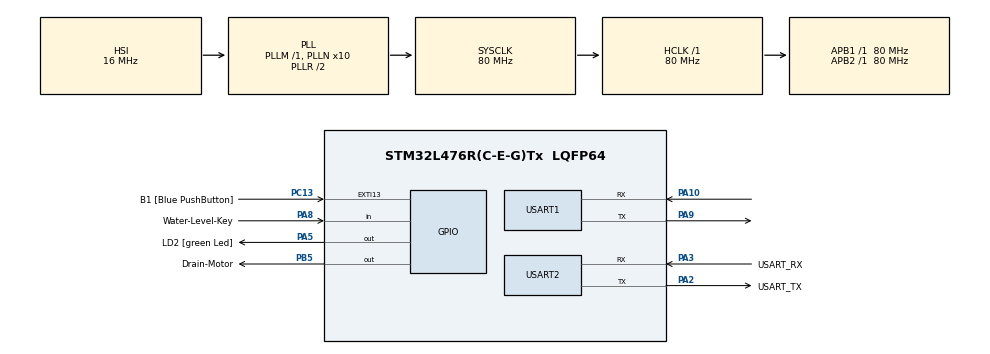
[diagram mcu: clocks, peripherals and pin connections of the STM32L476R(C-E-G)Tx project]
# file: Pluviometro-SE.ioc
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FREERTOS.Tasks01=defaultTask,0,128,StartDefaultTask,Default,NULL,Dynamic,NULL,NULL
FREERTOS.configUSE_NEWLIB_REENTRANT=1
Mcu.Family=STM32L4
Mcu.Name=STM32L476R(C-E-G)Tx
Mcu.Package=LQFP64
NVIC.PriorityGroup=NVIC_PRIORITYGROUP_4
NVIC.TIM1_UP_TIM16_IRQn=true\:15\:0\:false\:false\:true\:false\:false\:true\:true
NVIC.TimeBase=TIM1_UP_TIM16_IRQn
NVIC.TimeBaseIP=TIM1
PA10.Mode=Asynchronous
PA10.Signal=USART1_RX
PA13\ (JTMS-SWDIO).GPIO_Label=TMS
PA13\ (JTMS-SWDIO).Mode=Serial_Wire
PA13\ (JTMS-SWDIO).Signal=SYS_JTMS-SWDIO
PA14\ (JTCK-SWCLK).GPIO_Label=TCK
PA14\ (JTCK-SWCLK).Mode=Serial_Wire
PA14\ (JTCK-SWCLK).Signal=SYS_JTCK-SWCLK
PA2.GPIO_Label=USART_TX
PA2.GPIO_Mode=GPIO_MODE_AF_PP
PA2.GPIO_PuPd=GPIO_NOPULL
PA2.GPIO_Speed=GPIO_SPEED_FREQ_VERY_HIGH
PA2.Mode=Asynchronous
PA2.Signal=USART2_TX
PA3.GPIO_Label=USART_RX
PA3.GPIO_Mode=GPIO_MODE_AF_PP
PA3.GPIO_PuPd=GPIO_NOPULL
PA3.GPIO_Speed=GPIO_SPEED_FREQ_VERY_HIGH
PA3.Mode=Asynchronous
PA3.Signal=USART2_RX
PA5.GPIO_Label=LD2 [green Led]
PA5.GPIO_ModeDefaultOutputPP=GPIO_MODE_OUTPUT_PP
PA5.GPIO_PuPd=GPIO_NOPULL
PA5.GPIO_Speed=GPIO_SPEED_FREQ_LOW
PA5.Signal=GPIO_Output
PA8.GPIO_Label=Water-Level-Key
PA8.GPIO_PuPd=GPIO_NOPULL
PA8.Signal=GPIO_Input
PA9.Mode=Asynchronous
PA9.Signal=USART1_TX
PB3\ (JTDO-TRACESWO).GPIO_Label=SWO
PB3\ (JTDO-TRACESWO).Signal=SYS_JTDO-SWO
PB5.GPIO_Label=Drain-Motor
PB5.Signal=GPIO_Output
PC13.GPIO_Label=B1 [Blue PushButton]
PC13.GPIO_ModeDefaultEXTI=GPIO_MODE_IT_FALLING
PC13.GPIO_PuPd=GPIO_NOPULL
PC13.Signal=GPXTI13
PC14-OSC32_IN\ (PC14).Mode=LSE-External-Oscillator
PC14-OSC32_IN\ (PC14).Signal=RCC_OSC32_IN
PC15-OSC32_OUT\ (PC15).Mode=LSE-External-Oscillator
PC15-OSC32_OUT\ (PC15).Signal=RCC_OSC32_OUT
PH0-OSC_IN\ (PH0).Signal=RCC_OSC_IN
PH1-OSC_OUT\ (PH1).Signal=RCC_OSC_OUT
ProjectManager.HeapSize=0x200
ProjectManager.StackSize=0x400
ProjectManager.TargetToolchain=STM32CubeIDE
RCC.ADCFreq_Value=64000000
RCC.AHBFreq_Value=80000000
RCC.APB1Freq_Value=80000000
RCC.APB1TimFreq_Value=80000000
RCC.APB2Freq_Value=80000000
RCC.APB2TimFreq_Value=80000000
RCC.CortexFreq_Value=80000000
RCC.HCLKFreq_Value=80000000
RCC.HSE_VALUE=8000000
RCC.HSI_VALUE=16000000
RCC.MSI_VALUE=4000000
RCC.PLLN=10
RCC.PLLSourceVirtual=RCC_PLLSOURCE_HSI
RCC.PREFETCH_ENABLE=1
RCC.SYSCLKFreq_VALUE=80000000
RCC.SYSCLKSource=RCC_SYSCLKSOURCE_PLLCLK
RCC.USBFreq_Value=64000000
RCC.VCOOutputFreq_Value=160000000
USART1.VirtualMode-Asynchronous=VM_ASYNC
USART2.VirtualMode-Asynchronous=VM_ASYNC
VP_FREERTOS_VS_CMSIS_V1.Mode=CMSIS_V1
VP_SYS_VS_tim1.Mode=TIM1
board=NUCLEO-L476RG

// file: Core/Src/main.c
/* USER CODE BEGIN Header */
/**
  ******************************************************************************
  * @file           : main.c
  * @brief          : Main program body
  ******************************************************************************
  * @attention
  *
  * Copyright (c) 2022 STMicroelectronics.
  * All rights reserved.
  *
  * This software is licensed under terms that can be found in the LICENSE file
  * in the root directory of this software component.
  * If no LICENSE file comes with this software, it is provided AS-IS.
  *
  ******************************************************************************
  */
/* USER CODE END Header */
#include "main.h"
#include "cmsis_os.h"

UART_HandleTypeDef huart1;
UART_HandleTypeDef huart2;

osThreadId defaultTaskHandle;
/* USER CODE BEGIN PV */
QueueHandle_t tx_queue_1;
QueueHandle_t rx_queue_1;
QueueHandle_t tx_queue_2;
QueueHandle_t rx_queue_2;
/* USER CODE END PV */

void SystemClock_Config(void);
static void MX_GPIO_Init(void);
static void MX_USART2_UART_Init(void);
static void MX_USART1_UART_Init(void);
void StartDefaultTask(void const * argument);

/* USER CODE BEGIN 0 */

void sendChar(unsigned char c, int uart_number){
	unsigned char pChar = c;
	if(uart_number == 1)
		HAL_UART_Transmit(&huart1, &pChar,1 ,HAL_MAX_DELAY );
	else if(uart_number == 2)
		HAL_UART_Transmit(&huart2, &pChar, 1,HAL_MAX_DELAY );
}

void sendString(char * str, int uart_number){
	if(uart_number == 1)
		HAL_UART_Transmit(&huart1, (uint8_t *)str, strlen(str) ,HAL_MAX_DELAY );
	else if(uart_number == 2)
		HAL_UART_Transmit(&huart2, (uint8_t *)str, strlen(str) ,HAL_MAX_DELAY );
}

char readChar(int uart_number){
	unsigned char caracter;

	if(uart_number == 1){
		while(HAL_UART_Receive(&huart1, &caracter, 1, HAL_MAX_DELAY) != HAL_OK);
	}
	else if(uart_number == 2){
		while(HAL_UART_Receive(&huart2, &caracter, 1, HAL_MAX_DELAY) != HAL_OK);
	}
	return caracter;
}

/* USER CODE END 0 */

int main(void)
{

  /* MCU Configuration--------------------------------------------------------*/

  /* Reset of all peripherals, Initializes the Flash interface and the Systick. */
  HAL_Init();

  /* Configure the system clock */
  SystemClock_Config();

  /* Initialize all configured peripherals */
  MX_GPIO_Init();
  MX_USART2_UART_Init();
  MX_USART1_UART_Init();

  /* Create the thread(s) */
  /* definition and creation of defaultTask */
  osThreadDef(defaultTask, StartDefaultTask, osPriorityNormal, 0, 128);
  defaultTaskHandle = osThreadCreate(osThread(defaultTask), NULL);

  /* USER CODE BEGIN RTOS_THREADS */
  xTaskCreate(alertWaterLevel,          /* Nome da funcao que executa a task */

                   "detect critical water level",        /* Nome descritivo */

                  configMINIMAL_STACK_SIZE,   /* tamanho da pilha da task */

                  NULL,               /* parametro para a task */

                  tskIDLE_PRIORITY,           /* nivel de prioridade */

                  NULL);              /* ponteiro para o handle da task */

  xTaskCreate(alertDrain,          /* Nome da funcao que executa a task */

                   "drain the rain gauge",        /* Nome descritivo */

                  configMINIMAL_STACK_SIZE,   /* tamanho da pilha da task */

                  NULL,               /* parametro para a task */

                  tskIDLE_PRIORITY,           /* nivel de prioridade */

                  NULL);              /* ponteiro para o handle da task */

  /* USER CODE END RTOS_THREADS */

  /* Start scheduler */
  osKernelStart();

  /* We should never get here as control is now taken by the scheduler */
  /* Infinite loop */
  while (1)
  {

  }
}

void SystemClock_Config(void)
{
  RCC_OscInitTypeDef RCC_OscInitStruct = {0};
  RCC_ClkInitTypeDef RCC_ClkInitStruct = {0};

  /** Configure the main internal regulator output voltage
  */
  if (HAL_PWREx_ControlVoltageScaling(PWR_REGULATOR_VOLTAGE_SCALE1) != HAL_OK)
  {
    Error_Handler();
  }

  /** Initializes the RCC Oscillators according to the specified parameters
  * in the RCC_OscInitTypeDef structure.
  */
  RCC_OscInitStruct.OscillatorType = RCC_OSCILLATORTYPE_HSI;
  RCC_OscInitStruct.HSIState = RCC_HSI_ON;
  RCC_OscInitStruct.HSICalibrationValue = RCC_HSICALIBRATION_DEFAULT;
  RCC_OscInitStruct.PLL.PLLState = RCC_PLL_ON;
  RCC_OscInitStruct.PLL.PLLSource = RCC_PLLSOURCE_HSI;
  RCC_OscInitStruct.PLL.PLLM = 1;
  RCC_OscInitStruct.PLL.PLLN = 10;
  RCC_OscInitStruct.PLL.PLLP = RCC_PLLP_DIV7;
  RCC_OscInitStruct.PLL.PLLQ = RCC_PLLQ_DIV2;
  RCC_OscInitStruct.PLL.PLLR = RCC_PLLR_DIV2;
  if (HAL_RCC_OscConfig(&RCC_OscInitStruct) != HAL_OK)
  {
    Error_Handler();
  }

  /** Initializes the CPU, AHB and APB buses clocks
  */
  RCC_ClkInitStruct.ClockType = RCC_CLOCKTYPE_HCLK|RCC_CLOCKTYPE_SYSCLK
                              |RCC_CLOCKTYPE_PCLK1|RCC_CLOCKTYPE_PCLK2;
  RCC_ClkInitStruct.SYSCLKSource = RCC_SYSCLKSOURCE_PLLCLK;
  RCC_ClkInitStruct.AHBCLKDivider = RCC_SYSCLK_DIV1;
  RCC_ClkInitStruct.APB1CLKDivider = RCC_HCLK_DIV1;
  RCC_ClkInitStruct.APB2CLKDivider = RCC_HCLK_DIV1;

  if (HAL_RCC_ClockConfig(&RCC_ClkInitStruct, FLASH_LATENCY_4) != HAL_OK)
  {
    Error_Handler();
  }
}

static void MX_USART1_UART_Init(void)
{

  huart1.Instance = USART1;
  huart1.Init.BaudRate = 115200;
  huart1.Init.WordLength = UART_WORDLENGTH_8B;
  huart1.Init.StopBits = UART_STOPBITS_1;
  huart1.Init.Parity = UART_PARITY_NONE;
  huart1.Init.Mode = UART_MODE_TX_RX;
  huart1.Init.HwFlowCtl = UART_HWCONTROL_NONE;
  huart1.Init.OverSampling = UART_OVERSAMPLING_16;
  huart1.Init.OneBitSampling = UART_ONE_BIT_SAMPLE_DISABLE;
  huart1.AdvancedInit.AdvFeatureInit = UART_ADVFEATURE_NO_INIT;
  if (HAL_UART_Init(&huart1) != HAL_OK)
  {
    Error_Handler();
  }

}

static void MX_USART2_UART_Init(void)
{

  huart2.Instance = USART2;
  huart2.Init.BaudRate = 115200;
  huart2.Init.WordLength = UART_WORDLENGTH_8B;
  huart2.Init.StopBits = UART_STOPBITS_1;
  huart2.Init.Parity = UART_PARITY_NONE;
  huart2.Init.Mode = UART_MODE_TX_RX;
  huart2.Init.HwFlowCtl = UART_HWCONTROL_NONE;
  huart2.Init.OverSampling = UART_OVERSAMPLING_16;
  huart2.Init.OneBitSampling = UART_ONE_BIT_SAMPLE_DISABLE;
  huart2.AdvancedInit.AdvFeatureInit = UART_ADVFEATURE_NO_INIT;
  if (HAL_UART_Init(&huart2) != HAL_OK)
  {
    Error_Handler();
  }

}

static void MX_GPIO_Init(void)
{
  GPIO_InitTypeDef GPIO_InitStruct = {0};

  /* GPIO Ports Clock Enable */
  __HAL_RCC_GPIOC_CLK_ENABLE();
  __HAL_RCC_GPIOH_CLK_ENABLE();
  __HAL_RCC_GPIOA_CLK_ENABLE();
  __HAL_RCC_GPIOB_CLK_ENABLE();

  /*Configure GPIO pin Output Level */
  HAL_GPIO_WritePin(LD2_GPIO_Port, LD2_Pin, GPIO_PIN_RESET);

  /*Configure GPIO pin Output Level */
  HAL_GPIO_WritePin(Drain_Motor_GPIO_Port, Drain_Motor_Pin, GPIO_PIN_RESET);

  /*Configure GPIO pin : B1_Pin */
  GPIO_InitStruct.Pin = B1_Pin;
  GPIO_InitStruct.Mode = GPIO_MODE_IT_FALLING;
  GPIO_InitStruct.Pull = GPIO_NOPULL;
  HAL_GPIO_Init(B1_GPIO_Port, &GPIO_InitStruct);

  /*Configure GPIO pin : LD2_Pin */
  GPIO_InitStruct.Pin = LD2_Pin;
  GPIO_InitStruct.Mode = GPIO_MODE_OUTPUT_PP;
  GPIO_InitStruct.Pull = GPIO_NOPULL;
  GPIO_InitStruct.Speed = GPIO_SPEED_FREQ_LOW;
  HAL_GPIO_Init(LD2_GPIO_Port, &GPIO_InitStruct);

  /*Configure GPIO pin : Water_Level_Key_Pin */
  GPIO_InitStruct.Pin = Water_Level_Key_Pin;
  GPIO_InitStruct.Mode = GPIO_MODE_INPUT;
  GPIO_InitStruct.Pull = GPIO_NOPULL;
  HAL_GPIO_Init(Water_Level_Key_GPIO_Port, &GPIO_InitStruct);

  /*Configure GPIO pin : Drain_Motor_Pin */
  GPIO_InitStruct.Pin = Drain_Motor_Pin;
  GPIO_InitStruct.Mode = GPIO_MODE_OUTPUT_PP;
  GPIO_InitStruct.Pull = GPIO_NOPULL;
  GPIO_InitStruct.Speed = GPIO_SPEED_FREQ_LOW;
  HAL_GPIO_Init(Drain_Motor_GPIO_Port, &GPIO_InitStruct);

}

/* USER CODE BEGIN 4 */
int flag = 0;

void alertWaterLevel(void * argument)
{

	for(;;) {
		if(HAL_GPIO_ReadPin(Water_Level_Key_GPIO_Port, Water_Level_Key_Pin)) { // se a chave estiver levantada

			vTaskDelay(200);
			flag = 1;
			sendChar(1,1);
			sendChar('1',2);
		}
		else{ // se a chave não estiver levantada

			vTaskDelay(500);
			flag = 0;
		}
	}
}

void alertDrain(void * argument)
{
	for(;;) {
		if(flag > 0){

			HAL_GPIO_WritePin(Drain_Motor_GPIO_Port, Drain_Motor_Pin, 1);

			vTaskDelay(200);

			HAL_GPIO_WritePin(Drain_Motor_GPIO_Port, Drain_Motor_Pin, 0);

			vTaskDelay(200);
		}
//		if (flag) {
//			flag = 0;
//		}
	}
}
/* USER CODE END 4 */

void StartDefaultTask(void const * argument)
{
  for(;;)
  {
    osDelay(1);
  }
}

void HAL_TIM_PeriodElapsedCallback(TIM_HandleTypeDef *htim)
{
  if (htim->Instance == TIM1) {
    HAL_IncTick();
  }
}

void Error_Handler(void)
{
  __disable_irq();
  while (1)
  {
  }
}
